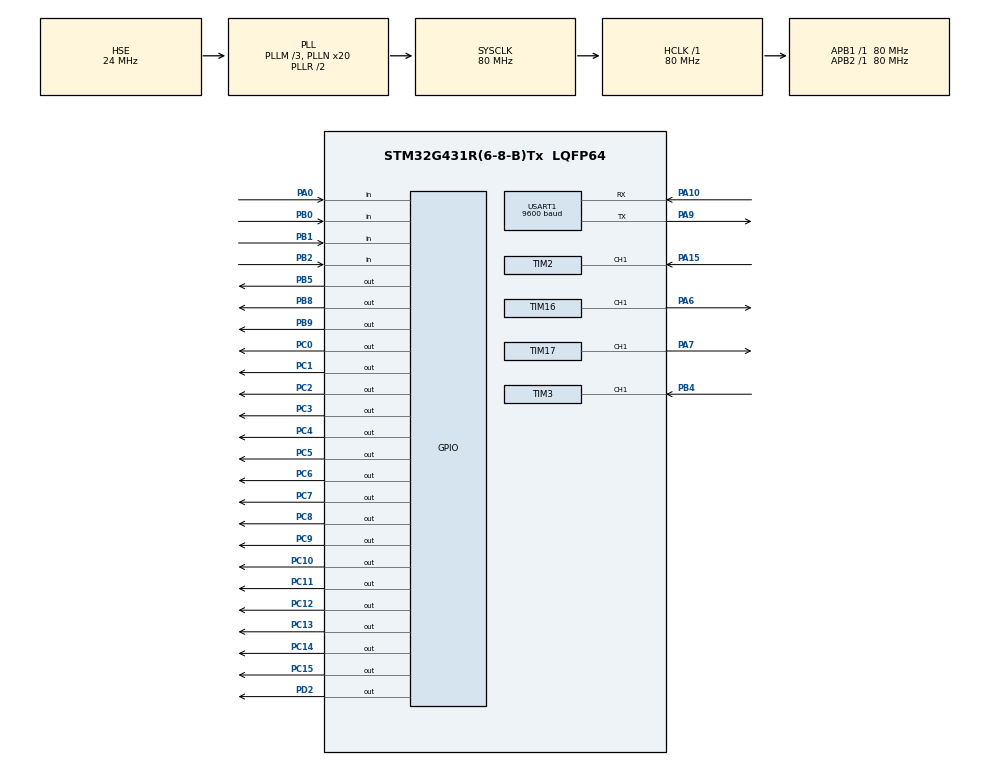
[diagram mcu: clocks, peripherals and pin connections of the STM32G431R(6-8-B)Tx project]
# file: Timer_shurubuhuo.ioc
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Mcu.Family=STM32G4
Mcu.Name=STM32G431R(6-8-B)Tx
Mcu.Package=LQFP64
NVIC.PriorityGroup=NVIC_PRIORITYGROUP_4
NVIC.TIM2_IRQn=true\:0\:0\:false\:false\:true\:true\:true\:true
NVIC.TIM3_IRQn=true\:0\:0\:false\:false\:true\:true\:true\:true
NVIC.TIM4_IRQn=true\:0\:0\:false\:false\:true\:true\:true\:true
NVIC.USART1_IRQn=true\:0\:0\:false\:false\:true\:true\:true\:true
PA0.GPIO_PuPd=GPIO_PULLUP
PA0.Signal=GPIO_Input
PA10.Mode=Asynchronous
PA10.Signal=USART1_RX
PA15.Signal=S_TIM2_CH1
PA6.Signal=S_TIM16_CH1
PA7.Signal=S_TIM17_CH1
PA9.Mode=Asynchronous
PA9.Signal=USART1_TX
PB0.GPIO_PuPd=GPIO_PULLUP
PB0.Signal=GPIO_Input
PB1.GPIO_PuPd=GPIO_PULLUP
PB1.Signal=GPIO_Input
PB2.GPIO_PuPd=GPIO_PULLUP
PB2.Signal=GPIO_Input
PB4.Signal=S_TIM3_CH1
PB5.Signal=GPIO_Output
PB8-BOOT0.Signal=GPIO_Output
PB9.Signal=GPIO_Output
PC0.Signal=GPIO_Output
PC1.Signal=GPIO_Output
PC10.PinState=GPIO_PIN_SET
PC10.Signal=GPIO_Output
PC11.PinState=GPIO_PIN_SET
PC11.Signal=GPIO_Output
PC12.PinState=GPIO_PIN_SET
PC12.Signal=GPIO_Output
PC13.PinState=GPIO_PIN_SET
PC13.Signal=GPIO_Output
PC14-OSC32_IN.PinState=GPIO_PIN_SET
PC14-OSC32_IN.Signal=GPIO_Output
PC15-OSC32_OUT.PinState=GPIO_PIN_SET
PC15-OSC32_OUT.Signal=GPIO_Output
PC2.Signal=GPIO_Output
PC3.Signal=GPIO_Output
PC4.Signal=GPIO_Output
PC5.Signal=GPIO_Output
PC6.Signal=GPIO_Output
PC7.Signal=GPIO_Output
PC8.PinState=GPIO_PIN_SET
PC8.Signal=GPIO_Output
PC9.PinState=GPIO_PIN_SET
PC9.Signal=GPIO_Output
PD2.Signal=GPIO_Output
PF0-OSC_IN.Mode=HSE-External-Oscillator
PF0-OSC_IN.Signal=RCC_OSC_IN
PF1-OSC_OUT.Mode=HSE-External-Oscillator
PF1-OSC_OUT.Signal=RCC_OSC_OUT
ProjectManager.HeapSize=0x200
ProjectManager.StackSize=0x400
ProjectManager.TargetToolchain=MDK-ARM V5.32
RCC.ADC12Freq_Value=80000000
RCC.AHBFreq_Value=80000000
RCC.APB1Freq_Value=80000000
RCC.APB1TimFreq_Value=80000000
RCC.APB2Freq_Value=80000000
RCC.APB2TimFreq_Value=80000000
RCC.CortexFreq_Value=80000000
RCC.EXTERNAL_CLOCK_VALUE=12288000
RCC.HCLKFreq_Value=80000000
RCC.HSE_VALUE=24000000
RCC.HSI48_VALUE=48000000
RCC.HSI_VALUE=16000000
RCC.LSE_VALUE=32768
RCC.PLLM=RCC_PLLM_DIV3
RCC.PLLN=20
RCC.PLLSourceVirtual=RCC_PLLSOURCE_HSE
RCC.SYSCLKFreq_VALUE=80000000
RCC.SYSCLKSource=RCC_SYSCLKSOURCE_PLLCLK
RCC.USBFreq_Value=80000000
RCC.VCOOutputFreq_Value=160000000
SH.S_TIM16_CH1.0=TIM16_CH1,PWM Generation1 CH1
SH.S_TIM17_CH1.0=TIM17_CH1,PWM Generation1 CH1
SH.S_TIM2_CH1.0=TIM2_CH1,Input_Capture1_from_TI1
SH.S_TIM3_CH1.0=TIM3_CH1,Input_Capture1_from_TI1
TIM16.Channel=TIM_CHANNEL_1
TIM16.PeriodNoDither=100-1
TIM16.Prescaler=8000-1
TIM16.PulseNoDither_1=20
TIM17.Channel=TIM_CHANNEL_1
TIM17.PeriodNoDither=100-1
TIM17.Prescaler=4000-1
TIM17.PulseNoDither_1=20
TIM2.Channel-Input_Capture1_from_TI1=TIM_CHANNEL_1
TIM2.Channel-Input_Capture2_from_TI1_63=TIM_CHANNEL_2
TIM2.ICPolarity_CH2=TIM_INPUTCHANNELPOLARITY_FALLING
TIM2.Prescaler=80-1
TIM3.Channel-Input_Capture1_from_TI1=TIM_CHANNEL_1
TIM3.Channel-Input_Capture2_from_TI1_63=TIM_CHANNEL_2
TIM3.ICPolarity_CH2=TIM_INPUTCHANNELPOLARITY_FALLING
TIM3.Prescaler=80-1
TIM4.PeriodNoDither=10000-1
TIM4.Prescaler=80-1
USART1.BaudRate=9600
USART1.VirtualMode-Asynchronous=VM_ASYNC
VP_SYS_VS_DBSignals.Mode=DisableDeadBatterySignals
VP_TIM16_VS_ClockSourceINT.Mode=Enable_Timer
VP_TIM17_VS_ClockSourceINT.Mode=Enable_Timer
VP_TIM2_VS_ClockSourceINT.Mode=Internal
VP_TIM2_VS_indirect_ch1.Mode=Input_Capture2_from_TI1_63
VP_TIM3_VS_ClockSourceINT.Mode=Internal
VP_TIM3_VS_indirect_ch1.Mode=Input_Capture2_from_TI1_63
VP_TIM4_VS_ClockSourceINT.Mode=Internal
board=custom

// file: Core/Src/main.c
/* USER CODE BEGIN Header */
/**
  ******************************************************************************
  * @file           : main.c
  * @brief          : Main program body
  ******************************************************************************
  * @attention
  *
  * Copyright (c) 2024 STMicroelectronics.
  * All rights reserved.
  *
  * This software is licensed under terms that can be found in the LICENSE file
  * in the root directory of this software component.
  * If no LICENSE file comes with this software, it is provided AS-IS.
  *
  ******************************************************************************
  */
/* USER CODE END Header */
#include "main.h"
#include "tim.h"
#include "usart.h"
#include "gpio.h"

/* USER CODE BEGIN Includes */

#include "led.h"
#include "lcd.h"
#include "myusart.h"
#include "timer.h"
#include "stdio.h"
#include "String.h"

/* USER CODE END Includes */

void SystemClock_Config(void);
/* USER CODE BEGIN PFP */
void key_proc(void);
void lcd_proc(void);

/* USER CODE END PFP */

/* USER CODE BEGIN 0 */

unsigned char ucled=0x00;//led灯
unsigned char text[30];//保存lcd显示屏上要显示的文字

//两个通道的占空比
unsigned char pa6_duty=10;
unsigned char pa7_duty=10;

//减速函数
__IO uint32_t uwTick_Lcd =0;//控制Lcd_Pric 的执行速度

/* USER CODE END 0 */

int main(void)
{

  /* MCU Configuration--------------------------------------------------------*/

  /* Reset of all peripherals, Initializes the Flash interface and the Systick. */
  HAL_Init();

  /* Configure the system clock */
  SystemClock_Config();

  /* Initialize all configured peripherals */
  MX_GPIO_Init();
  MX_TIM2_Init();
  MX_TIM3_Init();
  MX_TIM4_Init();
  MX_TIM16_Init();
  MX_TIM17_Init();
  MX_USART1_UART_Init();
  /* USER CODE BEGIN 2 */

    led_disp(0x00);

    LCD_Init();
    LCD_Clear(White);
    LCD_SetBackColor(White);
    LCD_SetTextColor(Blue2);

    HAL_UART_Receive_IT(&huart1,&rxdat,1);

    HAL_TIM_Base_Start_IT(&htim4);//使能定时器4

    //PWM波
    HAL_TIM_PWM_Start(&htim16,TIM_CHANNEL_1);
    HAL_TIM_PWM_Start(&htim17,TIM_CHANNEL_1);

    //打开输入捕获的定时器
    //开启定时器输入捕获中断
    HAL_TIM_IC_Start_IT(&htim2,TIM_CHANNEL_1);//频率测量捕获定时器开启
    HAL_TIM_IC_Start_IT(&htim3,TIM_CHANNEL_1);

  /* USER CODE END 2 */

  /* Infinite loop */
  while (1)
  {

    /* USER CODE BEGIN 3 */
      key_proc();
      lcd_proc();
  }
  /* USER CODE END 3 */
}

void SystemClock_Config(void)
{
  RCC_OscInitTypeDef RCC_OscInitStruct = {0};
  RCC_ClkInitTypeDef RCC_ClkInitStruct = {0};

  /** Configure the main internal regulator output voltage
  */
  HAL_PWREx_ControlVoltageScaling(PWR_REGULATOR_VOLTAGE_SCALE1);

  /** Initializes the RCC Oscillators according to the specified parameters
  * in the RCC_OscInitTypeDef structure.
  */
  RCC_OscInitStruct.OscillatorType = RCC_OSCILLATORTYPE_HSE;
  RCC_OscInitStruct.HSEState = RCC_HSE_ON;
  RCC_OscInitStruct.PLL.PLLState = RCC_PLL_ON;
  RCC_OscInitStruct.PLL.PLLSource = RCC_PLLSOURCE_HSE;
  RCC_OscInitStruct.PLL.PLLM = RCC_PLLM_DIV3;
  RCC_OscInitStruct.PLL.PLLN = 20;
  RCC_OscInitStruct.PLL.PLLP = RCC_PLLP_DIV2;
  RCC_OscInitStruct.PLL.PLLQ = RCC_PLLQ_DIV2;
  RCC_OscInitStruct.PLL.PLLR = RCC_PLLR_DIV2;
  if (HAL_RCC_OscConfig(&RCC_OscInitStruct) != HAL_OK)
  {
    Error_Handler();
  }

  /** Initializes the CPU, AHB and APB buses clocks
  */
  RCC_ClkInitStruct.ClockType = RCC_CLOCKTYPE_HCLK|RCC_CLOCKTYPE_SYSCLK
                              |RCC_CLOCKTYPE_PCLK1|RCC_CLOCKTYPE_PCLK2;
  RCC_ClkInitStruct.SYSCLKSource = RCC_SYSCLKSOURCE_PLLCLK;
  RCC_ClkInitStruct.AHBCLKDivider = RCC_SYSCLK_DIV1;
  RCC_ClkInitStruct.APB1CLKDivider = RCC_HCLK_DIV1;
  RCC_ClkInitStruct.APB2CLKDivider = RCC_HCLK_DIV1;

  if (HAL_RCC_ClockConfig(&RCC_ClkInitStruct, FLASH_LATENCY_2) != HAL_OK)
  {
    Error_Handler();
  }
}

/* USER CODE BEGIN 4 */

void key_proc(void)
{

    //按键1被按下
   if(1==key[0].single_flag)
   {
       sprintf((char *)text,"     %s","key1down");
       LCD_DisplayStringLine(Line0,text);
       pa6_duty+=10;
       if(pa6_duty>=100)pa6_duty=10;
   __HAL_TIM_SetCompare(&htim16,TIM_CHANNEL_1,pa6_duty);//设置占空比

       key[0].single_flag=0;

   }
    //按键2被按下
   if(1==key[1].single_flag)
   {
       sprintf((char *)text,"     %s","key2down");
       LCD_DisplayStringLine(Line0,text);
              pa7_duty+=10;
       if(pa7_duty>=100)pa7_duty=10;
   __HAL_TIM_SetCompare(&htim17,TIM_CHANNEL_1,pa6_duty);//设置占空比

       key[1].single_flag=0;
   }
    //按键3被按下
   if(1==key[2].single_flag)
   {
       sprintf((char *)text,"     %s","key3down");
       LCD_DisplayStringLine(Line0,text);
       pa6_duty-=10;
       if(pa6_duty<10)pa6_duty=90;
   __HAL_TIM_SetCompare(&htim16,TIM_CHANNEL_1,pa7_duty);//设置占空比

       key[2].single_flag=0;
   }
   //按键4被按下
   if(1==key[3].single_flag)
   {
       sprintf((char *)text,"     %s","key4down");
       LCD_DisplayStringLine(Line0,text);
       pa7_duty-=10;
       if(pa7_duty<10)pa7_duty=90;
   __HAL_TIM_SetCompare(&htim17,TIM_CHANNEL_1,pa7_duty);//设置占空比

       key[3].single_flag=0;
   }

   led_disp(ucled);
}

void lcd_proc(void)
{
   	if((uwTick - uwTick_Lcd) < 200) return; //减速函数//300毫秒刷新一次
		uwTick_Lcd = uwTick;
       //第二行显示pa6的占空比
   sprintf((char *)text,"pa6:%d%%",pa6_duty);
       LCD_DisplayStringLine(Line1,text);
   //第三行显示pa7的占空比
   sprintf((char *)text,"pa7:%d%%",pa7_duty);
       LCD_DisplayStringLine(Line2,text);

   //第四行显示定时器2的频率,R40
   //LCD_ClearLine(Line3);
   sprintf((char *)text,"tim2_frq:%05d Hz",frq1);
       LCD_DisplayStringLine(Line3,text);
   //第五行显示定时器2的占空比,R40
   sprintf((char *)text,"tim2_duty:%0.3f %%",duty1);
   LCD_DisplayStringLine(Line4,text);
   //第六行显示定时器3的频率,R39
   //LCD_ClearLine(Line4);
   sprintf((char *)text,"tim3_frq:%05d Hz",frq2);
   LCD_DisplayStringLine(Line5,text);
  //第六行显示定时器3的占空比,R39
   sprintf((char *)text,"tim3_duty:%0.3f %%",duty2);
   LCD_DisplayStringLine(Line6,text);
}

/* USER CODE END 4 */

void Error_Handler(void)
{
  __disable_irq();
  while (1)
  {
  }
}
